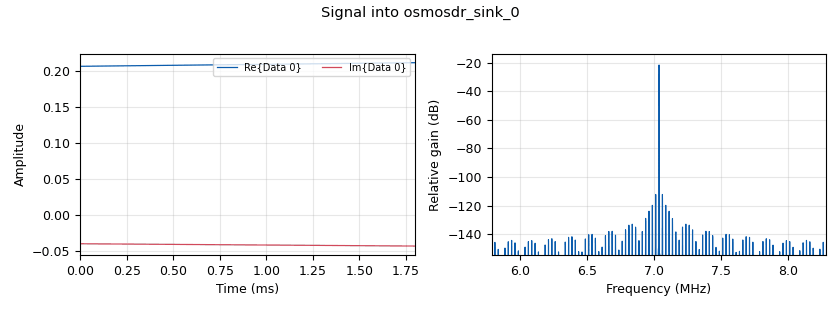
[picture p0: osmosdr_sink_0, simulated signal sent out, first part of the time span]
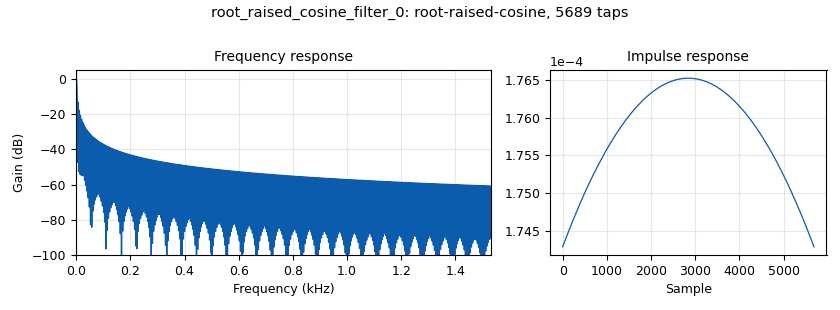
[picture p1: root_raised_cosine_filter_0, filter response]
options:
  parameters:
    generate_options: no_gui
    id: modulator
    output_language: python
    run_options: run
    title: Modulator
  states: {}

blocks:
- name: dev_samp_rate
  id: variable
  parameters:
    value: 2.5e6
  states: {}
- name: pi
  id: variable
  parameters:
    value: '3.14159265358979323846'
  states: {}
- name: samp_rate
  id: variable
  parameters:
    value: 25e3
  states: {}
- name: symbol_duration
  id: variable
  parameters:
    value: '1.4648'
  states: {}
- name: tone_spacing
  id: variable
  parameters:
    value: '1.4648'
  states: {}
- name: am_symbols
  id: parameter
  parameters:
    label: am_symbols
    type: str
    value: 0,1,1,1,0,0,0,1,0,1
  states: {}
- name: analog_const_source_x_0
  id: analog_const_source_x
  parameters:
    const: '0'
    type: float
  states: {}
- name: analog_frequency_modulator_fc_0
  id: analog_frequency_modulator_fc
  parameters:
    sensitivity: 2*pi*tone_spacing/samp_rate
  states: {}
- name: blocks_float_to_complex_0
  id: blocks_float_to_complex
  parameters: {}
  states: {}
- name: blocks_multiply_xx_0
  id: blocks_multiply_xx
  parameters:
    type: complex
  states: {}
- name: blocks_repeat_0
  id: blocks_repeat
  parameters:
    interp: int(symbol_duration*samp_rate)
    type: float
  states: {}
- name: blocks_repeat_0_0
  id: blocks_repeat
  parameters:
    interp: int(symbol_duration*samp_rate)
    type: float
  states: {}
- name: blocks_vector_source_x_0
  id: blocks_vector_source_x
  parameters:
    repeat: 'False'
    type: float
    vector: '[float(x) for x in wspr_symbols.split('','')]'
  states: {}
- name: blocks_vector_source_x_0_0
  id: blocks_vector_source_x
  parameters:
    repeat: 'False'
    type: float
    vector: '[0.7+0.3*int(x) for x in am_symbols.split('','')]'
  states: {}
- name: freq
  id: parameter
  parameters:
    label: freq
    type: eng_float
    value: '7040100'
  states: {}
- name: osmosdr_sink_0
  id: osmosdr_sink
  parameters:
    args: ''
    bb_gain0: '20'
    bw0: 1e3
    freq0: freq
    gain0: '10'
    if_gain0: '20'
    sample_rate: dev_samp_rate
    sync: sync
    type: fc32
  states: {}
- name: rational_resampler_xxx_0
  id: rational_resampler_xxx
  parameters:
    decim: int(samp_rate)
    interp: int(dev_samp_rate)
    taps: ''
    type: ccc
  states: {}
- name: root_raised_cosine_filter_0
  id: root_raised_cosine_filter
  parameters:
    alpha: '0.35'
    gain: '1'
    interp: '1'
    ntaps: int(samp_rate/symbol_duration/3)
    samp_rate: samp_rate
    sym_rate: 1/symbol_duration
    type: interp_fir_filter_fff
  states: {}
- name: root_raised_cosine_filter_0_0
  id: root_raised_cosine_filter
  parameters:
    alpha: '0.35'
    gain: '1'
    interp: '1'
    ntaps: int(samp_rate/symbol_duration/3)
    samp_rate: samp_rate
    sym_rate: 1/symbol_duration
    type: interp_fir_filter_fff
  states: {}
- name: wspr_symbols
  id: parameter
  parameters:
    label: wspr_symbols
    type: str
    value: '-2,1,0,-2,-1,0,-2,-2,2,2'
  states: {}

connections:
- [analog_const_source_x_0, '0', blocks_float_to_complex_0, '1']
- [analog_frequency_modulator_fc_0, '0', blocks_multiply_xx_0, '0']
- [blocks_float_to_complex_0, '0', blocks_multiply_xx_0, '1']
- [blocks_multiply_xx_0, '0', rational_resampler_xxx_0, '0']
- [blocks_repeat_0, '0', root_raised_cosine_filter_0, '0']
- [blocks_repeat_0_0, '0', root_raised_cosine_filter_0_0, '0']
- [blocks_vector_source_x_0, '0', blocks_repeat_0, '0']
- [blocks_vector_source_x_0_0, '0', blocks_repeat_0_0, '0']
- [rational_resampler_xxx_0, '0', osmosdr_sink_0, '0']
- [root_raised_cosine_filter_0, '0', analog_frequency_modulator_fc_0, '0']
- [root_raised_cosine_filter_0_0, '0', blocks_float_to_complex_0, '0']

metadata:
  file_format: 1
